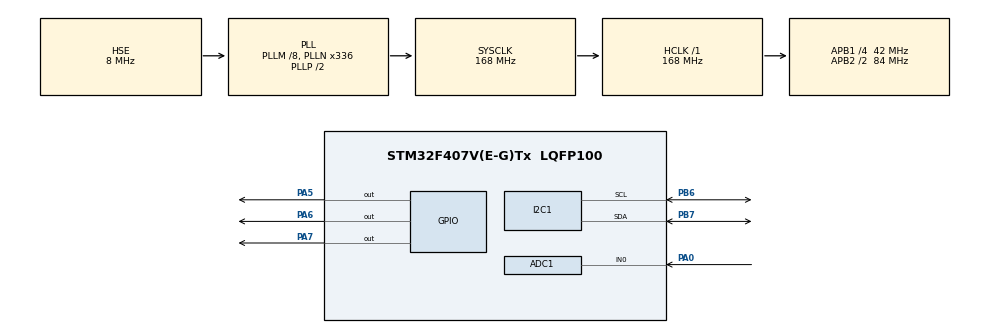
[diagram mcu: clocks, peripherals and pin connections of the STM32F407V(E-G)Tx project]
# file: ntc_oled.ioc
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ADC1.Channel-0\#ChannelRegularConversion=ADC_CHANNEL_0
ADC1.ContinuousConvMode=ENABLE
ADC1.NbrOfConversionFlag=1
ADC1.Rank-0\#ChannelRegularConversion=1
ADC1.SamplingTime-0\#ChannelRegularConversion=ADC_SAMPLETIME_480CYCLES
ADC1.master=1
Mcu.Family=STM32F4
Mcu.Name=STM32F407V(E-G)Tx
Mcu.Package=LQFP100
NVIC.PriorityGroup=NVIC_PRIORITYGROUP_0
PA0-WKUP.Signal=ADCx_IN0
PA5.GPIO_ModeDefaultOutputPP=GPIO_MODE_OUTPUT_PP
PA5.Signal=GPIO_Output
PA6.Signal=GPIO_Output
PA7.Signal=GPIO_Output
PB6.Mode=I2C
PB6.Signal=I2C1_SCL
PB7.Mode=I2C
PB7.Signal=I2C1_SDA
PH0-OSC_IN.Mode=HSE-External-Oscillator
PH0-OSC_IN.Signal=RCC_OSC_IN
PH1-OSC_OUT.Mode=HSE-External-Oscillator
PH1-OSC_OUT.Signal=RCC_OSC_OUT
ProjectManager.HeapSize=0x200
ProjectManager.StackSize=0x400
ProjectManager.TargetToolchain=STM32CubeIDE
RCC.48MHZClocksFreq_Value=48000000
RCC.AHBFreq_Value=168000000
RCC.APB1CLKDivider=RCC_HCLK_DIV4
RCC.APB1Freq_Value=42000000
RCC.APB1TimFreq_Value=84000000
RCC.APB2CLKDivider=RCC_HCLK_DIV2
RCC.APB2Freq_Value=84000000
RCC.APB2TimFreq_Value=168000000
RCC.CortexFreq_Value=168000000
RCC.HCLKFreq_Value=168000000
RCC.HSE_VALUE=8000000
RCC.HSI_VALUE=16000000
RCC.LSE_VALUE=32768
RCC.PLLM=8
RCC.PLLN=336
RCC.PLLQ=7
RCC.PLLSourceVirtual=RCC_PLLSOURCE_HSE
RCC.SYSCLKFreq_VALUE=168000000
RCC.SYSCLKSource=RCC_SYSCLKSOURCE_PLLCLK
RCC.VCOOutputFreq_Value=336000000
SH.ADCx_IN0.0=ADC1_IN0,IN0
board=STM32F407G-DISC1

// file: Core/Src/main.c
/* USER CODE BEGIN Header */
/**
  ******************************************************************************
  * @file           : main.c
  * @brief          : Main program body
  ******************************************************************************
  * @attention
  *
  * Copyright (c) 2026 STMicroelectronics.
  * All rights reserved.
  *
  * This software is licensed under terms that can be found in the LICENSE file
  * in the root directory of this software component.
  * If no LICENSE file comes with this software, it is provided AS-IS.
  *
  ******************************************************************************
  */
/* USER CODE END Header */
#include "main.h"

/* USER CODE BEGIN Includes */
#include "ssd1306.h"
#include "ssd1306_fonts.h"
#include <stdio.h>
#include <math.h>

#include "ina219.h"
/* USER CODE END Includes */

ADC_HandleTypeDef hadc1;

I2C_HandleTypeDef hi2c1;

void SystemClock_Config(void);
static void MX_GPIO_Init(void);
static void MX_ADC1_Init(void);
static void MX_I2C1_Init(void);

/* USER CODE BEGIN 0 */
uint32_t adcValue;
float ntcVoltage;
float resistance;
float temperature;

float batteryVoltage;   // from INA219
float batteryCurrent;   // from INA219
char str[32];

/* ---- Fault Limits ---- */
#define OVER_VOLTAGE_LIMIT   4.25f
#define UNDER_VOLTAGE_LIMIT  3.00f
#define OVER_CURRENT_LIMIT   1000.0f   // mA
#define OVER_TEMP_LIMIT      60.0f     // °C

/* ---- Fault Variables ---- */
uint8_t faultFlag = 0;
char faultMsg[20];

/* USER CODE END 0 */

int main(void)
{

  /* MCU Configuration--------------------------------------------------------*/

  /* Reset of all peripherals, Initializes the Flash interface and the Systick. */
  HAL_Init();

  /* Configure the system clock */
  SystemClock_Config();

  /* Initialize all configured peripherals */
  MX_GPIO_Init();
  MX_ADC1_Init();
  MX_I2C1_Init();
  /* USER CODE BEGIN 2 */
  ssd1306_Init();

  INA219_Init(&hi2c1);
  /* USER CODE END 2 */

  /* Infinite loop */
  /* USER CODE BEGIN WHILE */
  while (1)
  {
	  HAL_ADC_Start(&hadc1);
	      HAL_ADC_PollForConversion(&hadc1, HAL_MAX_DELAY);

	      adcValue = HAL_ADC_GetValue(&hadc1);

	      ntcVoltage = (adcValue * 3.3f) / 4095.0f;

	      if(ntcVoltage > 3.29f)
	          ntcVoltage = 3.29f;

	      resistance = (10000.0f * ntcVoltage) / (3.3f - ntcVoltage);
	      temperature = 1.0f /
	                    ((1.0f / 298.15f) +
	                     (1.0f / 3950.0f) *
	                     logf(resistance / 10000.0f))
	                    - 273.15f;

	      /* -------- INA219 -------- */
	      batteryVoltage = INA219_GetBusVoltage_V();
	      batteryCurrent = INA219_GetCurrent_mA();

	      /* -------- Fault Detection -------- */
	      faultFlag = 0;
	      sprintf(faultMsg, "NORMAL");

	      if (batteryVoltage > OVER_VOLTAGE_LIMIT)
	      {
	          faultFlag = 1;
	          sprintf(faultMsg, "OVERVOLTAGE");
	      }
	      else if (batteryVoltage < UNDER_VOLTAGE_LIMIT)
	      {
	          faultFlag = 1;
	          sprintf(faultMsg, "UNDERVOLTAGE");
	      }
	      else if (fabsf(batteryCurrent) > OVER_CURRENT_LIMIT)
	      {
	          faultFlag = 1;
	          sprintf(faultMsg, "OVERCURRENT");
	      }
	      else if (temperature > OVER_TEMP_LIMIT)
	      {
	          faultFlag = 1;
	          sprintf(faultMsg, "OVERTEMP");
	      }

	      /* -------- Status Indicators -------- */
	      if (faultFlag)
	      {
	          // Fault condition
	          HAL_GPIO_WritePin(GPIOA, GPIO_PIN_5, GPIO_PIN_SET);   // Buzzer ON
	          HAL_GPIO_WritePin(GPIOA, GPIO_PIN_6, GPIO_PIN_RESET); // Green LED OFF
	          HAL_GPIO_WritePin(GPIOA, GPIO_PIN_7, GPIO_PIN_SET);   // Red LED ON
	      }
	      else
	      {
	          // Normal condition
	          HAL_GPIO_WritePin(GPIOA, GPIO_PIN_5, GPIO_PIN_RESET); // Buzzer OFF
	          HAL_GPIO_WritePin(GPIOA, GPIO_PIN_6, GPIO_PIN_SET);   // Green LED ON
	          HAL_GPIO_WritePin(GPIOA, GPIO_PIN_7, GPIO_PIN_RESET); // Red LED OFF
	      }
	      ssd1306_Fill(Black);
	      sprintf(str, "Temp: %.1f C", temperature);
	      ssd1306_SetCursor(0, 0);
	      ssd1306_WriteString(str, Font_7x10, White);

	      sprintf(str, "Volt: %.2f V", batteryVoltage);
	      ssd1306_SetCursor(0, 16);
	      ssd1306_WriteString(str, Font_7x10, White);

	      sprintf(str, "Curr: %.0f mA", batteryCurrent);
	      ssd1306_SetCursor(0, 32);
	      ssd1306_WriteString(str, Font_7x10, White);

	      sprintf(str, "FAULT:%s", faultMsg);
	      ssd1306_SetCursor(0, 48);
	      ssd1306_WriteString(str, Font_6x8, White);

	      ssd1306_UpdateScreen();

	      HAL_Delay(500);
    /* USER CODE END WHILE */

  }
}

void SystemClock_Config(void)
{
  RCC_OscInitTypeDef RCC_OscInitStruct = {0};
  RCC_ClkInitTypeDef RCC_ClkInitStruct = {0};

  /** Configure the main internal regulator output voltage
  */
  __HAL_RCC_PWR_CLK_ENABLE();
  __HAL_PWR_VOLTAGESCALING_CONFIG(PWR_REGULATOR_VOLTAGE_SCALE1);

  /** Initializes the RCC Oscillators according to the specified parameters
  * in the RCC_OscInitTypeDef structure.
  */
  RCC_OscInitStruct.OscillatorType = RCC_OSCILLATORTYPE_HSE;
  RCC_OscInitStruct.HSEState = RCC_HSE_ON;
  RCC_OscInitStruct.PLL.PLLState = RCC_PLL_ON;
  RCC_OscInitStruct.PLL.PLLSource = RCC_PLLSOURCE_HSE;
  RCC_OscInitStruct.PLL.PLLM = 8;
  RCC_OscInitStruct.PLL.PLLN = 336;
  RCC_OscInitStruct.PLL.PLLP = RCC_PLLP_DIV2;
  RCC_OscInitStruct.PLL.PLLQ = 7;
  if (HAL_RCC_OscConfig(&RCC_OscInitStruct) != HAL_OK)
  {
    Error_Handler();
  }

  /** Initializes the CPU, AHB and APB buses clocks
  */
  RCC_ClkInitStruct.ClockType = RCC_CLOCKTYPE_HCLK|RCC_CLOCKTYPE_SYSCLK
                              |RCC_CLOCKTYPE_PCLK1|RCC_CLOCKTYPE_PCLK2;
  RCC_ClkInitStruct.SYSCLKSource = RCC_SYSCLKSOURCE_PLLCLK;
  RCC_ClkInitStruct.AHBCLKDivider = RCC_SYSCLK_DIV1;
  RCC_ClkInitStruct.APB1CLKDivider = RCC_HCLK_DIV4;
  RCC_ClkInitStruct.APB2CLKDivider = RCC_HCLK_DIV2;

  if (HAL_RCC_ClockConfig(&RCC_ClkInitStruct, FLASH_LATENCY_5) != HAL_OK)
  {
    Error_Handler();
  }
}

static void MX_ADC1_Init(void)
{

  ADC_ChannelConfTypeDef sConfig = {0};

  /** Configure the global features of the ADC (Clock, Resolution, Data Alignment and number of conversion)
  */
  hadc1.Instance = ADC1;
  hadc1.Init.ClockPrescaler = ADC_CLOCK_SYNC_PCLK_DIV4;
  hadc1.Init.Resolution = ADC_RESOLUTION_12B;
  hadc1.Init.ScanConvMode = DISABLE;
  hadc1.Init.ContinuousConvMode = ENABLE;
  hadc1.Init.DiscontinuousConvMode = DISABLE;
  hadc1.Init.ExternalTrigConvEdge = ADC_EXTERNALTRIGCONVEDGE_NONE;
  hadc1.Init.ExternalTrigConv = ADC_SOFTWARE_START;
  hadc1.Init.DataAlign = ADC_DATAALIGN_RIGHT;
  hadc1.Init.NbrOfConversion = 1;
  hadc1.Init.DMAContinuousRequests = DISABLE;
  hadc1.Init.EOCSelection = ADC_EOC_SINGLE_CONV;
  if (HAL_ADC_Init(&hadc1) != HAL_OK)
  {
    Error_Handler();
  }

  /** Configure for the selected ADC regular channel its corresponding rank in the sequencer and its sample time.
  */
  sConfig.Channel = ADC_CHANNEL_0;
  sConfig.Rank = 1;
  sConfig.SamplingTime = ADC_SAMPLETIME_480CYCLES;
  if (HAL_ADC_ConfigChannel(&hadc1, &sConfig) != HAL_OK)
  {
    Error_Handler();
  }

}

static void MX_I2C1_Init(void)
{

  hi2c1.Instance = I2C1;
  hi2c1.Init.ClockSpeed = 100000;
  hi2c1.Init.DutyCycle = I2C_DUTYCYCLE_2;
  hi2c1.Init.OwnAddress1 = 0;
  hi2c1.Init.AddressingMode = I2C_ADDRESSINGMODE_7BIT;
  hi2c1.Init.DualAddressMode = I2C_DUALADDRESS_DISABLE;
  hi2c1.Init.OwnAddress2 = 0;
  hi2c1.Init.GeneralCallMode = I2C_GENERALCALL_DISABLE;
  hi2c1.Init.NoStretchMode = I2C_NOSTRETCH_DISABLE;
  if (HAL_I2C_Init(&hi2c1) != HAL_OK)
  {
    Error_Handler();
  }

}

static void MX_GPIO_Init(void)
{
  GPIO_InitTypeDef GPIO_InitStruct = {0};
  /* USER CODE BEGIN MX_GPIO_Init_1 */

  GPIO_InitStruct.Pin = GPIO_PIN_5;
  GPIO_InitStruct.Mode = GPIO_MODE_OUTPUT_PP;
  GPIO_InitStruct.Pull = GPIO_NOPULL;
  GPIO_InitStruct.Speed = GPIO_SPEED_FREQ_LOW;
  HAL_GPIO_Init(GPIOA, &GPIO_InitStruct);
  /* USER CODE END MX_GPIO_Init_1 */

  /* GPIO Ports Clock Enable */
  __HAL_RCC_GPIOH_CLK_ENABLE();
  __HAL_RCC_GPIOA_CLK_ENABLE();
  __HAL_RCC_GPIOB_CLK_ENABLE();

  /*Configure GPIO pin Output Level */
  HAL_GPIO_WritePin(GPIOA, GPIO_PIN_5|GPIO_PIN_6|GPIO_PIN_7, GPIO_PIN_RESET);

  /*Configure GPIO pins : PA5 PA6 PA7 */
  GPIO_InitStruct.Pin = GPIO_PIN_5|GPIO_PIN_6|GPIO_PIN_7;
  GPIO_InitStruct.Mode = GPIO_MODE_OUTPUT_PP;
  GPIO_InitStruct.Pull = GPIO_NOPULL;
  GPIO_InitStruct.Speed = GPIO_SPEED_FREQ_LOW;
  HAL_GPIO_Init(GPIOA, &GPIO_InitStruct);

}

void Error_Handler(void)
{
  __disable_irq();
  while (1)
  {
  }
}
